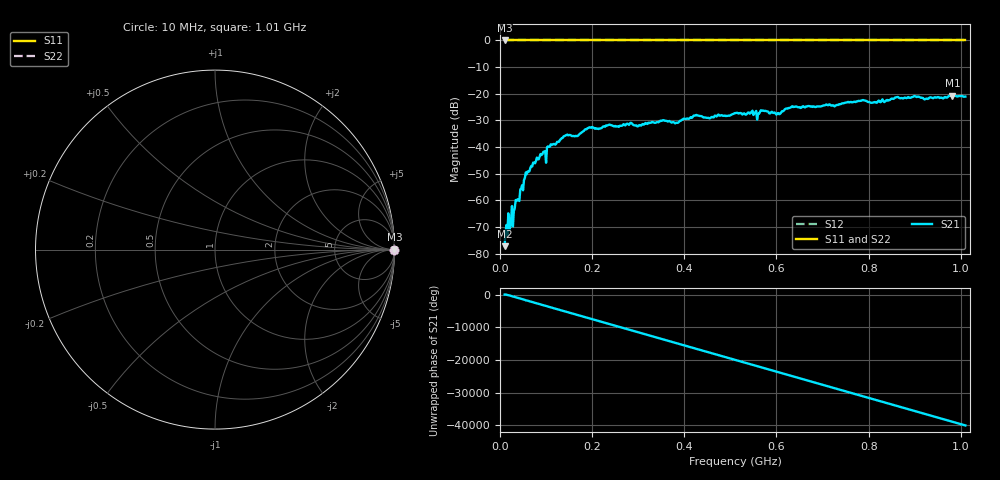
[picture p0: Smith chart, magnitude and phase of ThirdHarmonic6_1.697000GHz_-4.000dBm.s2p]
! 8/16/2025 8:23:15 PM
! C:\ANRITSUVNA\TEMP\TEMP.S2P
! CHANNEL.1
! TR.MEASUREMENT
! RAW.DATA
! RF.CORRECTION.OFF
! AVERAGING.OFF
! IF.BANDWIDTH: 5KHZ
! SWEEPTYPE:  FREQ.SWEEP(Linear)
! Reference Plane Port Info
! PORT:  PORT1  PORT2
! DISTANCE:  0  m  0  m
! TIME:  0  s  0  s
! PHASE.OFFSET:  0  deg.  0  deg.
! LOSS:  0  dB  0  dB
! REF.LOSS:  0  dB  0  dB
! REF.FREQ:  0  Hz  0  Hz
! Power Info
! POWER:  -20  dBm  -20  dBm
! EFF.POWER:  -20  dBm  -20  dBm
! SOURCE.ATTEN:  0  dB  0  dB
! TEST.ATTEN:  0  dB  0  dB
# GHZ S RI R 50.0
! FREQ.GHZ  S11RE  S11IM  S21RE  S21IM  S12RE  S12IM  S22RE  S22IM
!; PortSelection: Port_12
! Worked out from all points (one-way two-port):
!   501 points, 10 MHz to 1.01 GHz, reference 50 ohm
!   highest |S21| = -20.68 dB at 982 MHz (marker M1); lowest = -77.1 dB at 10 MHz (marker M2)
!   lowest |S11| = 0.0 dB at 10 MHz (marker M3)
!   |S11| at or under -10 dB: nowhere
!   |S22| runs from 0.0 to 0.0 dB; largest |S21 - S12| = 1.1
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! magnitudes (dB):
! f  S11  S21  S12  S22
! 10 MHz  0.0  -77.1  0.0  0.0
! 16 MHz  0.0  -73.3  0.0  0.0
! 20 MHz  0.0  -71.2  0.0  0.0
! 22 MHz  0.0  -70.0  0.0  0.0
! 24 MHz  0.0  -67.5  0.0  0.0
! 34 MHz  0.0  -59.8  0.0  0.0
! 56 MHz  0.0  -49.4  0.0  0.0
! 70 MHz  0.0  -47.2  0.0  0.0
! 106 MHz  0.0  -39.9  0.0  0.0
! 142 MHz  0.0  -35.7  0.0  0.0
! 178 MHz  0.0  -34.4  0.0  0.0
! 196 MHz  0.0  -32.6  0.0  0.0
! 344 MHz  0.0  -30.7  0.0  0.0
! 384 MHz  0.0  -30.9  0.0  0.0
! 424 MHz  0.0  -28.2  0.0  0.0
! 510 MHz  0.0  -27.2  0.0  0.0
! 604 MHz  0.0  -27.2  0.0  0.0
! 634 MHz  0.0  -24.7  0.0  0.0
! 678 MHz  0.0  -24.9  0.0  0.0
! 844 MHz  0.0  -22.4  0.0  0.0
! 982 MHz  0.0  -20.7  0.0  0.0
! 1.01 GHz  0.0  -21.0  0.0  0.0
